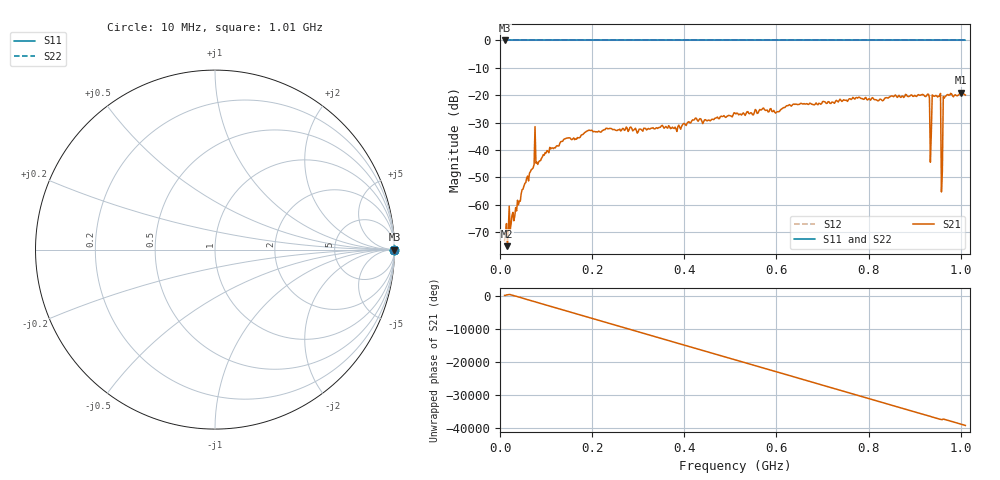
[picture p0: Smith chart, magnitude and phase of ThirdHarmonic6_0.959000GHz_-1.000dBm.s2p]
! 8/16/2025 7:05:03 AM
! C:\ANRITSUVNA\TEMP\TEMP.S2P
! CHANNEL.1
! TR.MEASUREMENT
! RAW.DATA
! RF.CORRECTION.OFF
! AVERAGING.OFF
! IF.BANDWIDTH: 5KHZ
! SWEEPTYPE:  FREQ.SWEEP(Linear)
! Reference Plane Port Info
! PORT:  PORT1  PORT2
! DISTANCE:  0  m  0  m
! TIME:  0  s  0  s
! PHASE.OFFSET:  0  deg.  0  deg.
! LOSS:  0  dB  0  dB
! REF.LOSS:  0  dB  0  dB
! REF.FREQ:  0  Hz  0  Hz
! Power Info
! POWER:  -20  dBm  -20  dBm
! EFF.POWER:  -20  dBm  -20  dBm
! SOURCE.ATTEN:  0  dB  0  dB
! TEST.ATTEN:  0  dB  0  dB
# GHZ S RI R 50.0
! FREQ.GHZ  S11RE  S11IM  S21RE  S21IM  S12RE  S12IM  S22RE  S22IM
!; PortSelection: Port_12
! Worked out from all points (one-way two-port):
!   501 points, 10 MHz to 1.01 GHz, reference 50 ohm
!   highest |S21| = -19.07 dB at 1 GHz (marker M1); lowest = -75.1 dB at 16 MHz (marker M2)
!   lowest |S11| = 0.0 dB at 10 MHz (marker M3)
!   |S11| at or under -10 dB: nowhere
!   |S22| runs from 0.0 to 0.0 dB; largest |S21 - S12| = 1.1
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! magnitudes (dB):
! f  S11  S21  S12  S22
! 10 MHz  0.0  -73.0  0.0  0.0
! 16 MHz  0.0  -75.1  0.0  0.0
! 76 MHz  0.0  -31.5  0.0  0.0
! 80 MHz  0.0  -44.4  0.0  0.0
! 82 MHz  0.0  -45.3  0.0  0.0
! 142 MHz  0.0  -35.9  0.0  0.0
! 178 MHz  0.0  -34.4  0.0  0.0
! 344 MHz  0.0  -31.9  0.0  0.0
! 510 MHz  0.0  -26.5  0.0  0.0
! 678 MHz  0.0  -23.3  0.0  0.0
! 844 MHz  0.0  -20.8  0.0  0.0
! 928 MHz  0.0  -19.6  0.0  0.0
! 932 MHz  0.0  -20.9  0.0  0.0
! 936 MHz  0.0  -34.1  0.0  0.0
! 938 MHz  0.0  -19.9  0.0  0.0
! 942 MHz  0.0  -20.4  0.0  0.0
! 952 MHz  0.0  -20.3  0.0  0.0
! 956 MHz  0.0  -19.4  0.0  0.0
! 962 MHz  0.0  -20.5  0.0  0.0
! 966 MHz  0.0  -20.5  0.0  0.0
! 1 GHz  0.0  -19.1  0.0  0.0
! 1.01 GHz  0.0  -19.9  0.0  0.0
